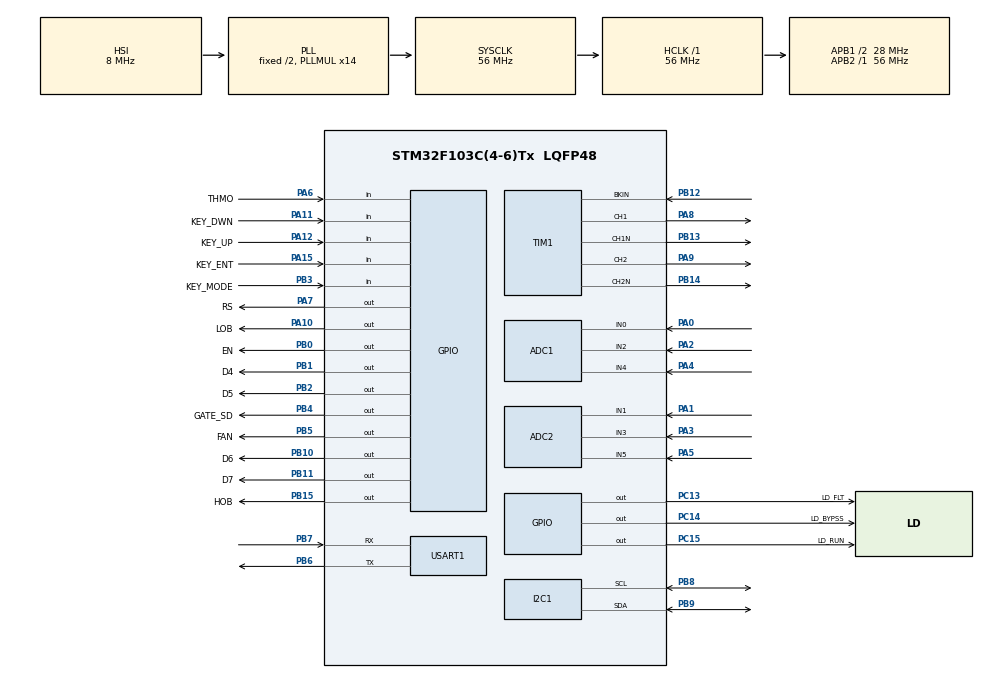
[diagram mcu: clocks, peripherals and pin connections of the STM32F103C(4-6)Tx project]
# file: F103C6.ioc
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ADC1.Channel-0\#ChannelRegularConversion=ADC_CHANNEL_0
ADC1.Channel-3\#ChannelRegularConversion=ADC_CHANNEL_2
ADC1.Channel-4\#ChannelRegularConversion=ADC_CHANNEL_4
ADC1.ContinuousConvMode=DISABLE
ADC1.ExternalTrigConv=ADC_EXTERNALTRIGCONV_T1_CC3
ADC1.Mode=ADC_DUALMODE_REGSIMULT
ADC1.NbrOfConversion=3
ADC1.NbrOfConversionFlag=1
ADC1.Rank-0\#ChannelRegularConversion=1
ADC1.Rank-3\#ChannelRegularConversion=2
ADC1.Rank-4\#ChannelRegularConversion=3
ADC1.SamplingTime-0\#ChannelRegularConversion=ADC_SAMPLETIME_7CYCLES_5
ADC1.SamplingTime-3\#ChannelRegularConversion=ADC_SAMPLETIME_7CYCLES_5
ADC1.SamplingTime-4\#ChannelRegularConversion=ADC_SAMPLETIME_7CYCLES_5
ADC1.master=1
ADC2.Channel-0\#ChannelRegularConversion=ADC_CHANNEL_1
ADC2.Channel-1\#ChannelRegularConversion=ADC_CHANNEL_3
ADC2.Channel-2\#ChannelRegularConversion=ADC_CHANNEL_5
ADC2.ContinuousConvMode=DISABLE
ADC2.Mode=ADC_DUALMODE_REGSIMULT
ADC2.NbrOfConversion=3
ADC2.NbrOfConversionFlag=1
ADC2.Rank-0\#ChannelRegularConversion=1
ADC2.Rank-1\#ChannelRegularConversion=2
ADC2.Rank-2\#ChannelRegularConversion=3
ADC2.SamplingTime-0\#ChannelRegularConversion=ADC_SAMPLETIME_7CYCLES_5
ADC2.SamplingTime-1\#ChannelRegularConversion=ADC_SAMPLETIME_7CYCLES_5
ADC2.SamplingTime-2\#ChannelRegularConversion=ADC_SAMPLETIME_7CYCLES_5
Dma.ADC1.0.Direction=DMA_PERIPH_TO_MEMORY
Dma.ADC1.0.Instance=DMA1_Channel1
Dma.ADC1.0.MemDataAlignment=DMA_MDATAALIGN_WORD
Dma.ADC1.0.MemInc=DMA_MINC_ENABLE
Dma.ADC1.0.Mode=DMA_CIRCULAR
Dma.ADC1.0.PeriphDataAlignment=DMA_PDATAALIGN_WORD
Dma.ADC1.0.PeriphInc=DMA_PINC_DISABLE
Dma.ADC1.0.Priority=DMA_PRIORITY_HIGH
Dma.Request0=ADC1
I2C1.I2C_Mode=I2C_Fast
Mcu.Family=STM32F1
Mcu.Name=STM32F103C(4-6)Tx
Mcu.Package=LQFP48
NVIC.DMA1_Channel1_IRQn=true\:0\:0\:false\:false\:true\:false\:true\:true
NVIC.PriorityGroup=NVIC_PRIORITYGROUP_4
NVIC.TIM1_UP_IRQn=true\:0\:0\:false\:false\:true\:true\:true\:true
NVIC.TIM2_IRQn=true\:0\:0\:false\:false\:true\:true\:true\:true
NVIC.USART1_IRQn=true\:0\:0\:false\:false\:true\:true\:true\:true
PA0-WKUP.Signal=ADCx_IN0
PA1.Signal=ADCx_IN1
PA10.GPIO_Label=LOB
PA10.Signal=GPIO_Output
PA11.GPIO_Label=KEY_DWN
PA11.GPIO_PuPd=GPIO_PULLUP
PA11.Signal=GPIO_Input
PA12.GPIO_Label=KEY_UP
PA12.GPIO_PuPd=GPIO_PULLUP
PA12.Signal=GPIO_Input
PA13.Mode=Serial_Wire
PA13.Signal=SYS_JTMS-SWDIO
PA14.Mode=Serial_Wire
PA14.Signal=SYS_JTCK-SWCLK
PA15.GPIO_Label=KEY_ENT
PA15.GPIO_PuPd=GPIO_PULLUP
PA15.Signal=GPIO_Input
PA2.Signal=ADCx_IN2
PA3.Signal=ADCx_IN3
PA4.Signal=ADCx_IN4
PA5.Signal=ADCx_IN5
PA6.GPIO_Label=THMO
PA6.Signal=GPIO_Input
PA7.GPIO_Label=RS
PA7.Signal=GPIO_Output
PA8.Signal=S_TIM1_CH1
PA9.Signal=S_TIM1_CH2
PB0.GPIO_Label=EN
PB0.Signal=GPIO_Output
PB1.GPIO_Label=D4
PB1.Signal=GPIO_Output
PB10.GPIO_Label=D6
PB10.Signal=GPIO_Output
PB11.GPIO_Label=D7
PB11.Signal=GPIO_Output
PB12.Mode=Activate-Break-Input
PB12.Signal=TIM1_BKIN
PB13.Mode=PWM Generation1 CH1 CH1N
PB13.Signal=TIM1_CH1N
PB14.Mode=PWM Generation2 CH2 CH2N
PB14.Signal=TIM1_CH2N
PB15.GPIO_Label=HOB
PB15.Signal=GPIO_Output
PB2.GPIO_Label=D5
PB2.Signal=GPIO_Output
PB3.GPIO_Label=KEY_MODE
PB3.GPIO_PuPd=GPIO_PULLUP
PB3.Signal=GPIO_Input
PB4.GPIO_Label=GATE_SD
PB4.Signal=GPIO_Output
PB5.GPIO_Label=FAN
PB5.Signal=GPIO_Output
PB6.Mode=Asynchronous
PB6.Signal=USART1_TX
PB7.Mode=Asynchronous
PB7.Signal=USART1_RX
PB8.Mode=I2C
PB8.Signal=I2C1_SCL
PB9.Mode=I2C
PB9.Signal=I2C1_SDA
PC13-TAMPER-RTC.GPIO_Label=LD_FLT
PC13-TAMPER-RTC.Signal=GPIO_Output
PC14-OSC32_IN.GPIO_Label=LD_BYPSS
PC14-OSC32_IN.Signal=GPIO_Output
PC15-OSC32_OUT.GPIO_Label=LD_RUN
PC15-OSC32_OUT.Signal=GPIO_Output
PD0-OSC_IN.Mode=HSE-External-Oscillator
PD0-OSC_IN.Signal=RCC_OSC_IN
PD1-OSC_OUT.Mode=HSE-External-Oscillator
PD1-OSC_OUT.Signal=RCC_OSC_OUT
ProjectManager.HeapSize=0x200
ProjectManager.StackSize=0x400
ProjectManager.TargetToolchain=STM32CubeIDE
RCC.ADCPresc=RCC_ADCPCLK2_DIV4
RCC.AHBFreq_Value=56000000
RCC.APB1CLKDivider=RCC_HCLK_DIV2
RCC.APB1Freq_Value=28000000
RCC.APB1TimFreq_Value=56000000
RCC.APB2Freq_Value=56000000
RCC.APB2TimFreq_Value=56000000
RCC.HCLKFreq_Value=56000000
RCC.PLLMUL=RCC_PLL_MUL14
RCC.SYSCLKFreq_VALUE=56000000
RCC.SYSCLKSource=RCC_SYSCLKSOURCE_PLLCLK
RCC.USBFreq_Value=56000000
SH.ADCx_IN0.0=ADC1_IN0,IN0
SH.ADCx_IN1.0=ADC2_IN1,IN1
SH.ADCx_IN2.0=ADC1_IN2,IN2
SH.ADCx_IN3.0=ADC2_IN3,IN3
SH.ADCx_IN4.0=ADC1_IN4,IN4
SH.ADCx_IN5.0=ADC2_IN5,IN5
SH.S_TIM1_CH1.0=TIM1_CH1,PWM Generation1 CH1 CH1N
SH.S_TIM1_CH2.0=TIM1_CH2,PWM Generation2 CH2 CH2N
TIM1.AutomaticOutput=TIM_AUTOMATICOUTPUT_ENABLE
TIM1.Channel-PWM\ Generation1\ CH1\ CH1N=TIM_CHANNEL_1
TIM1.Channel-PWM\ Generation2\ CH2\ CH2N=TIM_CHANNEL_2
TIM1.Channel-PWM\ Generation3\ No\ Output=TIM_CHANNEL_3
TIM1.ClockDivision=TIM_CLOCKDIVISION_DIV1
TIM1.CounterMode=TIM_COUNTERMODE_CENTERALIGNED1
TIM1.DeadTime=((DEAD_TIME_COUNTS)/2)
TIM1.OCMode_PWM-PWM\ Generation2\ CH2\ CH2N=TIM_OCMODE_PWM1
TIM1.OCMode_PWM-PWM\ Generation3\ No\ Output=TIM_OCMODE_PWM1
TIM1.Period=((PWM_PERIOD_CYCLES)/2)
TIM1.Prescaler=((TIM_CLOCK_DIVIDER) - 1)
TIM1.Pulse-PWM\ Generation3\ No\ Output=1
TIM1.RepetitionCounter=(REP_COUNTER)
TIM1.TIM_MasterOutputTrigger=TIM_TRGO_OC3REF
TIM1.TIM_MasterSlaveMode=TIM_MASTERSLAVEMODE_DISABLE
TIM2.Channel-PWM\ Generation1\ No\ Output=TIM_CHANNEL_1
TIM2.CounterMode=TIM_COUNTERMODE_UP
TIM2.Period=((PWM_PERIOD_CYCLES)*2)
TIM2.Prescaler=((TIM_CLOCK_DIVIDER) - 1)
USART1.VirtualMode=VM_ASYNC
VP_TIM1_VS_ClockSourceINT.Mode=Internal
VP_TIM1_VS_no_output3.Mode=PWM Generation3 No Output
VP_TIM2_VS_ClockSourceINT.Mode=Internal
VP_TIM2_VS_ClockSourceITR.Mode=TriggerSource_ITR0
VP_TIM2_VS_no_output1.Mode=PWM Generation1 No Output
board=custom

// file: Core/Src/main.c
/* USER CODE BEGIN Header */
/**
  ******************************************************************************
  * @file           : main.c
  * @brief          : Main program body
  ******************************************************************************
  * @attention
  *
  * Copyright (c) 2023 STMicroelectronics.
  * All rights reserved.
  *
  * This software is licensed under terms that can be found in the LICENSE file
  * in the root directory of this software component.
  * If no LICENSE file comes with this software, it is provided AS-IS.
  *
  ******************************************************************************
  */
/* USER CODE END Header */
#include "main.h"

/* USER CODE BEGIN Includes */
//#include "stdio.h"
#include "sinTable_16KHz.h"
#include "math.h"
#include "inverter.h"

#ifdef LCD
#include "lcd.h"
#endif

/* USER CODE END Includes */

/* USER CODE BEGIN PTD */
#define X_UART							0
#define X_EEPROM						0

/* USER CODE END PTD */

/* USER CODE BEGIN PD */

//================= EEPROM
#define EEPROM_ADDRESS              	((uint8_t)0xA0)
#define FAULT_BUFFER		         	((uint8_t)12)        	// 12 byte = 12 faults
#define EEPROM_DEFAULT_PARAMS      	((uint8_t)16)        	// 16 parameters to read/write

//================= UART
#define UART_TIMEOUT					((uint8_t)50)
//================= GPIO
//----------------- Output Active Low
//#define LD_FAULT_INACTIVE				HAL_GPIO_WritePin(LD_R_GPIO_Port, LD_R_Pin, GPIO_PIN_SET)
//#define LD_FAULT_ACTIVE				HAL_GPIO_WritePin(LD_R_GPIO_Port, LD_R_Pin, GPIO_PIN_RESET)
//#define LD_FAULT_TOGGLE				HAL_GPIO_TogglePin(LD_R_GPIO_Port, LD_R_Pin)
//
//#define LD_BYPSS_INACTIVE				HAL_GPIO_WritePin(LD_B_GPIO_Port, LD_B_Pin, GPIO_PIN_SET)
//#define LD_BYPSS_ACTIVE				HAL_GPIO_WritePin(LD_B_GPIO_Port, LD_B_Pin, GPIO_PIN_RESET)
//#define LD_BYPSS_TOGGLE				HAL_GPIO_TogglePin(LD_B_GPIO_Port, LD_B_Pin)
//
//#define LD_RUN_INACTIVE				HAL_GPIO_WritePin(LD_G_GPIO_Port, LD_G_Pin, GPIO_PIN_SET)
//#define LD_RUN_ACTIVE					HAL_GPIO_WritePin(LD_G_GPIO_Port, LD_G_Pin, GPIO_PIN_RESET)
//#define LD_RUN_TOGGLE					HAL_GPIO_TogglePin(LD_G_GPIO_Port, LD_G_Pin)

#define LD_FAULT_INACTIVE				GPIOC->BSRR = (uint32_t)GPIO_PIN_13;  			// SET
#define LD_FAULT_ACTIVE				GPIOC->BSRR = (uint32_t)GPIO_PIN_13 << 16u;  	// RESET
#define LD_FAULT_TOGGLE				HAL_GPIO_TogglePin(LD_R_GPIO_Port, LD_R_Pin)

#define LD_BYPSS_INACTIVE				GPIOC->BSRR = (uint32_t)GPIO_PIN_14;  			// SET
#define LD_BYPSS_ACTIVE				GPIOC->BSRR = (uint32_t)GPIO_PIN_14 << 16u;  	// RESET
#define LD_BYPSS_TOGGLE				HAL_GPIO_TogglePin(LD_B_GPIO_Port, LD_B_Pin)

#define LD_RUN_INACTIVE				GPIOC->BSRR = (uint32_t)GPIO_PIN_15;  			// SET
#define LD_RUN_ACTIVE					GPIOC->BSRR = (uint32_t)GPIO_PIN_15 << 16u;  	// RESET
#define LD_RUN_TOGGLE					HAL_GPIO_TogglePin(LD_G_GPIO_Port, LD_G_Pin)

//----------------- Output Active High
#define SLAVE_MOSFET_HIGH_INACTIVE	HAL_GPIO_WritePin(HOB_GPIO_Port, HOB_Pin, GPIO_PIN_RESET)
#define SLAVE_MOSFET_HIGH_ACTIVE		HAL_GPIO_WritePin(HOB_GPIO_Port, HOB_Pin, GPIO_PIN_SET)

#define SLAVE_MOSFET_LOW_INACTIVE		HAL_GPIO_WritePin(LOB_GPIO_Port, LOB_Pin, GPIO_PIN_RESET)
#define SLAVE_MOSFET_LOW_ACTIVE		HAL_GPIO_WritePin(LOB_GPIO_Port, LOB_Pin, GPIO_PIN_SET)

#define GATEDRIVE_INACTIVE			HAL_GPIO_WritePin(GATE_SD_GPIO_Port, GATE_SD_Pin, GPIO_PIN_RESET)
#define GATEDRIVE_ACTIVE				HAL_GPIO_WritePin(GATE_SD_GPIO_Port, GATE_SD_Pin, GPIO_PIN_SET)

#define FAN_INACTIVE					HAL_GPIO_WritePin(FAN_GPIO_Port, FAN_Pin, GPIO_PIN_RESET)
#define FAN_ACTIVE						HAL_GPIO_WritePin(FAN_GPIO_Port, FAN_Pin, GPIO_PIN_SET)

//#define RY_BYPASS_INACTIVE			HAL_GPIO_WritePin(BYPSS_GPIO_Port, BYPSS_Pin, GPIO_PIN_RESET)
//#define RY_BYPASS_ACTIVE				HAL_GPIO_WritePin(BYPSS_GPIO_Port, BYPSS_Pin, GPIO_PIN_SET)
//
//#define TESTPOINT_OFF					HAL_GPIO_WritePin(DBG_GPIO_Port, DBG_Pin, GPIO_PIN_RESET)
//#define TESTPOINT_ON					HAL_GPIO_WritePin(DBG_GPIO_Port, DBG_Pin, GPIO_PIN_SET)

//----------------- Digital Input
#define KEY_MODE						((uint8_t)0x01)		// 0000-0001
#define KEY_ENT						((uint8_t)0x02)   	// 0000-0010
#define KEY_UP	 						((uint8_t)0x04)		// 0000-0100
#define KEY_DWN						((uint8_t)0x08)		// 0000-1000

//=================
#define OFF								0
#define ON								1

#define RESET							0
#define SET								1

/* USER CODE END PD */

/* USER CODE BEGIN PM */

/* Private variables ---------------------------------------------------------*/

/* USER CODE END PM */

ADC_HandleTypeDef hadc1;
ADC_HandleTypeDef hadc2;
DMA_HandleTypeDef hdma_adc1;

I2C_HandleTypeDef hi2c1;

TIM_HandleTypeDef htim1;
TIM_HandleTypeDef htim2;

UART_HandleTypeDef huart1;

/* USER CODE BEGIN PV */
//================= Structure
SPWM_HandleTypeDef spwm;	// inverter.h
PI_HandleTypeDef pi_control;
DISPLAY_HandleTypedef txData;

keyStatus_HandleTypedef key;
keyCounter_HandleTypedef count;
keyFlag_HandleTypedef flag;

protectionCounter_HandleTypedef cnt;
protectionFlag_HandleTypedef flg;
temperature_HandleTypedef ntc;

Fault_HandleTypedef fltCnt;		// fault Count
flagFault_HandleTypedef fltFlg;	// fault Flag

#ifdef LCD

#endif
//------------------------------------------------------------------------

enum enum_boardState {
	boardState_InverterOFF 	 = 0,
	boardState_CheckDCBus 	 = 1,
	boardState_RLyConnect 	 = 2,
	boardState_InverterON	 = 3,
	boardState_TripCondition = 4
};

enum enum_boardState boardState = boardState_InverterOFF;

//------------------------------------------------------------------------
typedef enum{
	powerState_Off,
	powerState_On
}enum_powerState;

typedef enum{
	machineState_Error,
	machineState_StartUp,
	machineState_Operate
}enum_machineState;

typedef enum{
	invState_Off,
	invState_On
}enum_invState;

typedef enum{
	phaseState_Positive,
	phaseState_Negative
}enum_phaseState;

typedef enum{
	modeState_Normal,
	modeState_Bypass
}enum_modeState;

typedef enum{
	faultState_Clear,

	faultState_InputOverCurrent,
	faultState_InputUnderVoltage,
	faultState_InputOverVoltage,

	faultState_OutputOverVoltage,
	faultState_OutputOverCurrent,
	faultState_OutputOverPower,

	faultState_MosfetOverTemp,
	faultState_TransOverTemp

}enum_faultState;

typedef enum{
	displayState_OFF,
	displayState_ON
}enum_displayState;

typedef enum{
	indicatorState_Home,
	indicatorState_Error
}enum_indicatorState;

typedef enum{
	keyState_Home,
	keyState_Selection,
	keyState_Setting
}enum_keyState;

volatile enum_powerState		powerState		= powerState_Off;
volatile enum_machineState		machineState	= machineState_Error;
volatile enum_invState			invState		= invState_Off;
volatile enum_phaseState		phaseState		= phaseState_Positive;
volatile enum_modeState		modeState		= modeState_Normal;
volatile enum_faultState		faultState		= faultState_Clear;
volatile enum_displayState		displatState	= displayState_ON;
volatile enum_indicatorState	indicatorState	= indicatorState_Home;
volatile enum_keyState			keyState		= keyState_Home;
//================= PID Control

int dynamicRef;
//================= PWM, INVERTER
uint16_t sampling =0; 					// Count for sampling PWM value 0 - 180 Degree

uint32_t dutyCycle_temp =0;					// temporary duty cycle before fine adjust by voltage loop
uint32_t dutyCycle =0;						// duty cycle before fine adjust by voltage loop
uint32_t dutyCyclePrv =0;					// old cycle before fine adjust by voltage loop

uint16_t ccr3 = CAPTURE_POINT;				// ADCS capture position every sampling point
uint16_t ccr1 = DUTY1, ccr2 = DUTY2; 		// use demo mode for check hardware

uint8_t	 flag_zeroCross = RESET;
//================= ADCS
volatile uint8_t 	convCompleted = 0;    	// Complete Conversion flag
volatile uint32_t 	adcPair[3];
volatile uint32_t 	adcVal[3];
volatile uint16_t	adc1[3];
volatile uint16_t 	adc2[3];

volatile uint16_t adcOffset;
volatile uint16_t adcVRef;
volatile uint16_t invVinInst;
volatile uint16_t invIinInst;
volatile uint16_t invVoutInst;
volatile uint16_t invIoutInst;
volatile uint16_t invMosfetTemp;
volatile uint16_t invTransfTemp;

//================= PI Regulator
//static int32_t Kp;
//static int32_t Ki;
static int32_t Int_term;
static int32_t VoutDelta;

volatile uint32_t VoutT;
volatile uint16_t VoutRange;
volatile uint16_t CTMax, CTMin;

int32_t  PI(uint32_t setpoint, uint32_t feedback);					// AN4449

//================= EEPROM
uint8_t write_buffer_init[4] = {1, 2, 4, 9};
uint8_t write_buffer[4] = {20, 30, 59, 87};
uint8_t read_buffer[4];

uint8_t flag_Read 	= RESET;
uint8_t flag_Write 	= RESET;

//================= UART
uint8_t flag_tx 	= RESET;
uint8_t flag_rx 	= RESET;

uint8_t tx_buffer[8] = {0x01,0x02,0x04,0x08,0x80,0x40,0x20,0x10};
uint8_t rx_buffer[8];
uint8_t tx_echo[8];

uint8_t tx_text_buffer[15] = "STM32F103C6T6\n\r";

//================= GPIO
uint16_t cntTick;
uint8_t  prv_keyState;
uint8_t  indexMenu =0, indexValue =0;

//================= etc
uint16_t *p, *q, *r;
uint16_t buff_p = 123;
uint32_t xsetpoint = 2000, xfeedback =0;
int data1, data2;

uint32_t delayTime =0;
/* USER CODE END PV */

void SystemClock_Config(void);
static void MX_GPIO_Init(void);
static void MX_DMA_Init(void);
static void MX_ADC1_Init(void);
static void MX_TIM1_Init(void);
static void MX_ADC2_Init(void);
static void MX_I2C1_Init(void);
static void MX_USART1_UART_Init(void);
static void MX_TIM2_Init(void);
/* USER CODE BEGIN PFP */
//================= systems

void TIM1_ISR(void);					// 16 KHz	// Highest  Priority
void TIM2_ISR(void);					//  8 KHz	// High 	Priority
void faultCheck(void);
int16_t convertTemp(int16_t adcNTC);

void sysTick(void);             		//  1 KHz   // Low  Priority
	void powerConvertion(void);    	//
	void readGPIO(void);

//=================
	void InitParameters(void);			// Parameters
	void InitPeripheral(void);			// Initial GPIO
	void ClearParameters(void);		// Clear Parameters

static void Vout_Check(void);
static void Reset_PI(void);

//==== Need Highest Clock
void EEPromWrite(void);
void EEPromRead(void);
void UartTransmit(void);
void execDISP(void);

void delay_ms(uint32_t del);
void mainProgram(void);

/* USER CODE END PFP */

/* USER CODE BEGIN 0 */

#ifdef X_SWV

int _write(int file, char *ptr, int len)
{
	int i=0;
	for(i =0; i<len; i++)
		ITM_SendChar((*ptr++));
	return len;
}

#endif

void delay_ms(uint32_t del)
{
	delayTime = del;
	while(delayTime > 0);
}

/* USER CODE END 0 */

int main(void)
{

  /* MCU Configuration--------------------------------------------------------*/

  /* Reset of all peripherals, Initializes the Flash interface and the Systick. */
  HAL_Init();

  /* Configure the system clock */
  SystemClock_Config();

  /* Initialize all configured peripherals */
  MX_GPIO_Init();
  MX_DMA_Init();
  MX_ADC1_Init();
  MX_TIM1_Init();
  MX_ADC2_Init();
  MX_I2C1_Init();
  MX_USART1_UART_Init();
  MX_TIM2_Init();
  /* USER CODE BEGIN 2 */

  HAL_UART_Receive_IT(&huart1, tx_echo, 8);

  spwm.maxPeriod = PWM_PERIOD_MAX;
  spwm.minPeriod = PWM_PERIOD_MIN;
  spwm.currentDuty = 20;
  spwm.percentMod = 0;
  spwm.pwm_deadTime = 0;

  InitParameters();
  InitPeripheral();

  //HAL_TIM_Base_Start_IT(&htim3);
  HAL_TIM_Base_Start_IT(&htim2);				 // Slave of TIM1 General Task
  HAL_TIM_Base_Start_IT(&htim1);				 // Inverter Task

  HAL_TIM_PWM_Start(&htim2, TIM_CHANNEL_1);     // 32 KHz

  HAL_TIM_PWM_Start(&htim1, TIM_CHANNEL_1);     // PWM AH
  HAL_TIM_PWM_Start(&htim1, TIM_CHANNEL_2);     // PWM BH
  HAL_TIM_PWM_Start(&htim1, TIM_CHANNEL_3);	 // OCREF for Trigger ADC Conversion
  //HAL_TIM_PWM_Start(&htim1, TIM_CHANNEL_4);

  HAL_TIMEx_PWMN_Start(&htim1, TIM_CHANNEL_1);  // PWM AL
  HAL_TIMEx_PWMN_Start(&htim1, TIM_CHANNEL_2);  // PWM BL
  //HAL_TIMEx_PWMN_Start(&htim1, TIM_CHANNEL_3);

  HAL_ADC_Start(&hadc2);						 // start ADC2 (slave) first!
  HAL_ADCEx_MultiModeStart_DMA(&hadc1, (uint32_t*) adcPair, 3);

#ifdef LCD

  //LCD_PWRON();
  //delay_ms(100);
  LCD_INIT();
  LCD_CLEAR_DISPLAY();
  LCD_LOCATE(1, 1);
  //LCD_printstring(" STM32F103C6T6 \n");
  LCD_printstring(" STM32F103C6T6  ");
  LCD_LOCATE(2, 1);
  //LCD_printstring("pureSineInverter\n");
  LCD_printstring("pureSineInverter");
#ifdef USE_HAL_DELAY
	HAL_Delay(500);
#else
	delay_ms(500);
#endif

  LCD_DISP_OFF();
#ifdef USE_HAL_DELAY
	HAL_Delay(200);
#else
	delay_ms(200);
#endif
  LCD_DISP_ON();
  LCD_CLEAR_DISPLAY();

#endif

  /* USER CODE END 2 */

  /* Infinite loop */
  while (1)
  {

    /* USER CODE BEGIN 3 */
	  	 mainProgram();
  }
  /* USER CODE END 3 */
}

void SystemClock_Config(void)
{
  RCC_OscInitTypeDef RCC_OscInitStruct = {0};
  RCC_ClkInitTypeDef RCC_ClkInitStruct = {0};
  RCC_PeriphCLKInitTypeDef PeriphClkInit = {0};

  /** Initializes the RCC Oscillators according to the specified parameters
  * in the RCC_OscInitTypeDef structure.
  */
  RCC_OscInitStruct.OscillatorType = RCC_OSCILLATORTYPE_HSI;
  RCC_OscInitStruct.HSIState = RCC_HSI_ON;
  RCC_OscInitStruct.HSICalibrationValue = RCC_HSICALIBRATION_DEFAULT;
  RCC_OscInitStruct.PLL.PLLState = RCC_PLL_ON;
  RCC_OscInitStruct.PLL.PLLSource = RCC_PLLSOURCE_HSI_DIV2;
  RCC_OscInitStruct.PLL.PLLMUL = RCC_PLL_MUL14;
  if (HAL_RCC_OscConfig(&RCC_OscInitStruct) != HAL_OK)
  {
    Error_Handler();
  }

  /** Initializes the CPU, AHB and APB buses clocks
  */
  RCC_ClkInitStruct.ClockType = RCC_CLOCKTYPE_HCLK|RCC_CLOCKTYPE_SYSCLK
                              |RCC_CLOCKTYPE_PCLK1|RCC_CLOCKTYPE_PCLK2;
  RCC_ClkInitStruct.SYSCLKSource = RCC_SYSCLKSOURCE_PLLCLK;
  RCC_ClkInitStruct.AHBCLKDivider = RCC_SYSCLK_DIV1;
  RCC_ClkInitStruct.APB1CLKDivider = RCC_HCLK_DIV2;
  RCC_ClkInitStruct.APB2CLKDivider = RCC_HCLK_DIV1;

  if (HAL_RCC_ClockConfig(&RCC_ClkInitStruct, FLASH_LATENCY_2) != HAL_OK)
  {
    Error_Handler();
  }
  PeriphClkInit.PeriphClockSelection = RCC_PERIPHCLK_ADC;
  PeriphClkInit.AdcClockSelection = RCC_ADCPCLK2_DIV4;
  if (HAL_RCCEx_PeriphCLKConfig(&PeriphClkInit) != HAL_OK)
  {
    Error_Handler();
  }
}

static void MX_ADC1_Init(void)
{

  ADC_MultiModeTypeDef multimode = {0};
  ADC_ChannelConfTypeDef sConfig = {0};

  /** Common config
  */
  hadc1.Instance = ADC1;
  hadc1.Init.ScanConvMode = ADC_SCAN_ENABLE;
  hadc1.Init.ContinuousConvMode = DISABLE;
  hadc1.Init.DiscontinuousConvMode = DISABLE;
  hadc1.Init.ExternalTrigConv = ADC_EXTERNALTRIGCONV_T1_CC3;
  hadc1.Init.DataAlign = ADC_DATAALIGN_RIGHT;
  hadc1.Init.NbrOfConversion = 3;
  if (HAL_ADC_Init(&hadc1) != HAL_OK)
  {
    Error_Handler();
  }

  /** Configure the ADC multi-mode
  */
  multimode.Mode = ADC_DUALMODE_REGSIMULT;
  if (HAL_ADCEx_MultiModeConfigChannel(&hadc1, &multimode) != HAL_OK)
  {
    Error_Handler();
  }

  /** Configure Regular Channel
  */
  sConfig.Channel = ADC_CHANNEL_0;
  sConfig.Rank = ADC_REGULAR_RANK_1;
  sConfig.SamplingTime = ADC_SAMPLETIME_7CYCLES_5;
  if (HAL_ADC_ConfigChannel(&hadc1, &sConfig) != HAL_OK)
  {
    Error_Handler();
  }

  /** Configure Regular Channel
  */
  sConfig.Channel = ADC_CHANNEL_2;
  sConfig.Rank = ADC_REGULAR_RANK_2;
  if (HAL_ADC_ConfigChannel(&hadc1, &sConfig) != HAL_OK)
  {
    Error_Handler();
  }

  /** Configure Regular Channel
  */
  sConfig.Channel = ADC_CHANNEL_4;
  sConfig.Rank = ADC_REGULAR_RANK_3;
  if (HAL_ADC_ConfigChannel(&hadc1, &sConfig) != HAL_OK)
  {
    Error_Handler();
  }

}

static void MX_ADC2_Init(void)
{

  ADC_ChannelConfTypeDef sConfig = {0};

  /** Common config
  */
  hadc2.Instance = ADC2;
  hadc2.Init.ScanConvMode = ADC_SCAN_ENABLE;
  hadc2.Init.ContinuousConvMode = DISABLE;
  hadc2.Init.DiscontinuousConvMode = DISABLE;
  hadc2.Init.ExternalTrigConv = ADC_SOFTWARE_START;
  hadc2.Init.DataAlign = ADC_DATAALIGN_RIGHT;
  hadc2.Init.NbrOfConversion = 3;
  if (HAL_ADC_Init(&hadc2) != HAL_OK)
  {
    Error_Handler();
  }

  /** Configure Regular Channel
  */
  sConfig.Channel = ADC_CHANNEL_1;
  sConfig.Rank = ADC_REGULAR_RANK_1;
  sConfig.SamplingTime = ADC_SAMPLETIME_7CYCLES_5;
  if (HAL_ADC_ConfigChannel(&hadc2, &sConfig) != HAL_OK)
  {
    Error_Handler();
  }

  /** Configure Regular Channel
  */
  sConfig.Channel = ADC_CHANNEL_3;
  sConfig.Rank = ADC_REGULAR_RANK_2;
  if (HAL_ADC_ConfigChannel(&hadc2, &sConfig) != HAL_OK)
  {
    Error_Handler();
  }

  /** Configure Regular Channel
  */
  sConfig.Channel = ADC_CHANNEL_5;
  sConfig.Rank = ADC_REGULAR_RANK_3;
  if (HAL_ADC_ConfigChannel(&hadc2, &sConfig) != HAL_OK)
  {
    Error_Handler();
  }

}

static void MX_I2C1_Init(void)
{

  hi2c1.Instance = I2C1;
  hi2c1.Init.ClockSpeed = 400000;
  hi2c1.Init.DutyCycle = I2C_DUTYCYCLE_2;
  hi2c1.Init.OwnAddress1 = 0;
  hi2c1.Init.AddressingMode = I2C_ADDRESSINGMODE_7BIT;
  hi2c1.Init.DualAddressMode = I2C_DUALADDRESS_DISABLE;
  hi2c1.Init.OwnAddress2 = 0;
  hi2c1.Init.GeneralCallMode = I2C_GENERALCALL_DISABLE;
  hi2c1.Init.NoStretchMode = I2C_NOSTRETCH_DISABLE;
  if (HAL_I2C_Init(&hi2c1) != HAL_OK)
  {
    Error_Handler();
  }

}

static void MX_TIM1_Init(void)
{

  TIM_ClockConfigTypeDef sClockSourceConfig = {0};
  TIM_MasterConfigTypeDef sMasterConfig = {0};
  TIM_OC_InitTypeDef sConfigOC = {0};
  TIM_BreakDeadTimeConfigTypeDef sBreakDeadTimeConfig = {0};

  htim1.Instance = TIM1;
  htim1.Init.Prescaler = ((TIM_CLOCK_DIVIDER) - 1);
  htim1.Init.CounterMode = TIM_COUNTERMODE_CENTERALIGNED1;
  htim1.Init.Period = ((PWM_PERIOD_CYCLES)/2);
  htim1.Init.ClockDivision = TIM_CLOCKDIVISION_DIV1;
  htim1.Init.RepetitionCounter = (REP_COUNTER);
  htim1.Init.AutoReloadPreload = TIM_AUTORELOAD_PRELOAD_DISABLE;
  if (HAL_TIM_Base_Init(&htim1) != HAL_OK)
  {
    Error_Handler();
  }
  sClockSourceConfig.ClockSource = TIM_CLOCKSOURCE_INTERNAL;
  if (HAL_TIM_ConfigClockSource(&htim1, &sClockSourceConfig) != HAL_OK)
  {
    Error_Handler();
  }
  if (HAL_TIM_PWM_Init(&htim1) != HAL_OK)
  {
    Error_Handler();
  }
  sMasterConfig.MasterOutputTrigger = TIM_TRGO_OC3REF;
  sMasterConfig.MasterSlaveMode = TIM_MASTERSLAVEMODE_DISABLE;
  if (HAL_TIMEx_MasterConfigSynchronization(&htim1, &sMasterConfig) != HAL_OK)
  {
    Error_Handler();
  }
  sConfigOC.OCMode = TIM_OCMODE_PWM1;
  sConfigOC.Pulse = 0;
  sConfigOC.OCPolarity = TIM_OCPOLARITY_HIGH;
  sConfigOC.OCNPolarity = TIM_OCNPOLARITY_HIGH;
  sConfigOC.OCFastMode = TIM_OCFAST_DISABLE;
  sConfigOC.OCIdleState = TIM_OCIDLESTATE_RESET;
  sConfigOC.OCNIdleState = TIM_OCNIDLESTATE_RESET;
  if (HAL_TIM_PWM_ConfigChannel(&htim1, &sConfigOC, TIM_CHANNEL_1) != HAL_OK)
  {
    Error_Handler();
  }
  if (HAL_TIM_PWM_ConfigChannel(&htim1, &sConfigOC, TIM_CHANNEL_2) != HAL_OK)
  {
    Error_Handler();
  }
  sConfigOC.Pulse = 1;
  if (HAL_TIM_PWM_ConfigChannel(&htim1, &sConfigOC, TIM_CHANNEL_3) != HAL_OK)
  {
    Error_Handler();
  }
  sBreakDeadTimeConfig.OffStateRunMode = TIM_OSSR_DISABLE;
  sBreakDeadTimeConfig.OffStateIDLEMode = TIM_OSSI_DISABLE;
  sBreakDeadTimeConfig.LockLevel = TIM_LOCKLEVEL_OFF;
  sBreakDeadTimeConfig.DeadTime = ((DEAD_TIME_COUNTS)/2);
  sBreakDeadTimeConfig.BreakState = TIM_BREAK_ENABLE;
  sBreakDeadTimeConfig.BreakPolarity = TIM_BREAKPOLARITY_HIGH;
  sBreakDeadTimeConfig.AutomaticOutput = TIM_AUTOMATICOUTPUT_ENABLE;
  if (HAL_TIMEx_ConfigBreakDeadTime(&htim1, &sBreakDeadTimeConfig) != HAL_OK)
  {
    Error_Handler();
  }
  HAL_TIM_MspPostInit(&htim1);

}

static void MX_TIM2_Init(void)
{

  TIM_ClockConfigTypeDef sClockSourceConfig = {0};
  TIM_SlaveConfigTypeDef sSlaveConfig = {0};
  TIM_MasterConfigTypeDef sMasterConfig = {0};
  TIM_OC_InitTypeDef sConfigOC = {0};

  htim2.Instance = TIM2;
  htim2.Init.Prescaler = ((TIM_CLOCK_DIVIDER) - 1);
  htim2.Init.CounterMode = TIM_COUNTERMODE_UP;
  htim2.Init.Period = ((PWM_PERIOD_CYCLES)*2);
  htim2.Init.ClockDivision = TIM_CLOCKDIVISION_DIV1;
  htim2.Init.AutoReloadPreload = TIM_AUTORELOAD_PRELOAD_DISABLE;
  if (HAL_TIM_Base_Init(&htim2) != HAL_OK)
  {
    Error_Handler();
  }
  sClockSourceConfig.ClockSource = TIM_CLOCKSOURCE_INTERNAL;
  if (HAL_TIM_ConfigClockSource(&htim2, &sClockSourceConfig) != HAL_OK)
  {
    Error_Handler();
  }
  if (HAL_TIM_PWM_Init(&htim2) != HAL_OK)
  {
    Error_Handler();
  }
  sSlaveConfig.SlaveMode = TIM_SLAVEMODE_DISABLE;
  sSlaveConfig.InputTrigger = TIM_TS_ITR0;
  if (HAL_TIM_SlaveConfigSynchro(&htim2, &sSlaveConfig) != HAL_OK)
  {
    Error_Handler();
  }
  sMasterConfig.MasterOutputTrigger = TIM_TRGO_RESET;
  sMasterConfig.MasterSlaveMode = TIM_MASTERSLAVEMODE_DISABLE;
  if (HAL_TIMEx_MasterConfigSynchronization(&htim2, &sMasterConfig) != HAL_OK)
  {
    Error_Handler();
  }
  sConfigOC.OCMode = TIM_OCMODE_PWM1;
  sConfigOC.Pulse = 0;
  sConfigOC.OCPolarity = TIM_OCPOLARITY_HIGH;
  sConfigOC.OCFastMode = TIM_OCFAST_DISABLE;
  if (HAL_TIM_PWM_ConfigChannel(&htim2, &sConfigOC, TIM_CHANNEL_1) != HAL_OK)
  {
    Error_Handler();
  }

}

static void MX_USART1_UART_Init(void)
{

  huart1.Instance = USART1;
  huart1.Init.BaudRate = 115200;
  huart1.Init.WordLength = UART_WORDLENGTH_8B;
  huart1.Init.StopBits = UART_STOPBITS_1;
  huart1.Init.Parity = UART_PARITY_NONE;
  huart1.Init.Mode = UART_MODE_TX_RX;
  huart1.Init.HwFlowCtl = UART_HWCONTROL_NONE;
  huart1.Init.OverSampling = UART_OVERSAMPLING_16;
  if (HAL_UART_Init(&huart1) != HAL_OK)
  {
    Error_Handler();
  }

}

static void MX_DMA_Init(void)
{

  /* DMA controller clock enable */
  __HAL_RCC_DMA1_CLK_ENABLE();

  /* DMA interrupt init */
  /* DMA1_Channel1_IRQn interrupt configuration */
  HAL_NVIC_SetPriority(DMA1_Channel1_IRQn, 0, 0);
  HAL_NVIC_EnableIRQ(DMA1_Channel1_IRQn);

}

static void MX_GPIO_Init(void)
{
  GPIO_InitTypeDef GPIO_InitStruct = {0};

  /* GPIO Ports Clock Enable */
  __HAL_RCC_GPIOC_CLK_ENABLE();
  __HAL_RCC_GPIOD_CLK_ENABLE();
  __HAL_RCC_GPIOA_CLK_ENABLE();
  __HAL_RCC_GPIOB_CLK_ENABLE();

  /*Configure GPIO pin Output Level */
  HAL_GPIO_WritePin(GPIOC, LD_FLT_Pin|LD_BYPSS_Pin|LD_RUN_Pin, GPIO_PIN_RESET);

  /*Configure GPIO pin Output Level */
  HAL_GPIO_WritePin(GPIOA, RS_Pin|LOB_Pin, GPIO_PIN_RESET);

  /*Configure GPIO pin Output Level */
  HAL_GPIO_WritePin(GPIOB, EN_Pin|D4_Pin|D5_Pin|D6_Pin
                          |D7_Pin|HOB_Pin|GATE_SD_Pin|FAN_Pin, GPIO_PIN_RESET);

  /*Configure GPIO pins : LD_FLT_Pin LD_BYPSS_Pin LD_RUN_Pin */
  GPIO_InitStruct.Pin = LD_FLT_Pin|LD_BYPSS_Pin|LD_RUN_Pin;
  GPIO_InitStruct.Mode = GPIO_MODE_OUTPUT_PP;
  GPIO_InitStruct.Pull = GPIO_NOPULL;
  GPIO_InitStruct.Speed = GPIO_SPEED_FREQ_LOW;
  HAL_GPIO_Init(GPIOC, &GPIO_InitStruct);

  /*Configure GPIO pin : THMO_Pin */
  GPIO_InitStruct.Pin = THMO_Pin;
  GPIO_InitStruct.Mode = GPIO_MODE_INPUT;
  GPIO_InitStruct.Pull = GPIO_NOPULL;
  HAL_GPIO_Init(THMO_GPIO_Port, &GPIO_InitStruct);

  /*Configure GPIO pins : RS_Pin LOB_Pin */
  GPIO_InitStruct.Pin = RS_Pin|LOB_Pin;
  GPIO_InitStruct.Mode = GPIO_MODE_OUTPUT_PP;
  GPIO_InitStruct.Pull = GPIO_NOPULL;
  GPIO_InitStruct.Speed = GPIO_SPEED_FREQ_LOW;
  HAL_GPIO_Init(GPIOA, &GPIO_InitStruct);

  /*Configure GPIO pins : EN_Pin D4_Pin D5_Pin D6_Pin
                           D7_Pin HOB_Pin GATE_SD_Pin FAN_Pin */
  GPIO_InitStruct.Pin = EN_Pin|D4_Pin|D5_Pin|D6_Pin
                          |D7_Pin|HOB_Pin|GATE_SD_Pin|FAN_Pin;
  GPIO_InitStruct.Mode = GPIO_MODE_OUTPUT_PP;
  GPIO_InitStruct.Pull = GPIO_NOPULL;
  GPIO_InitStruct.Speed = GPIO_SPEED_FREQ_LOW;
  HAL_GPIO_Init(GPIOB, &GPIO_InitStruct);

  /*Configure GPIO pins : KEY_DWN_Pin KEY_UP_Pin KEY_ENT_Pin */
  GPIO_InitStruct.Pin = KEY_DWN_Pin|KEY_UP_Pin|KEY_ENT_Pin;
  GPIO_InitStruct.Mode = GPIO_MODE_INPUT;
  GPIO_InitStruct.Pull = GPIO_PULLUP;
  HAL_GPIO_Init(GPIOA, &GPIO_InitStruct);

  /*Configure GPIO pin : KEY_MODE_Pin */
  GPIO_InitStruct.Pin = KEY_MODE_Pin;
  GPIO_InitStruct.Mode = GPIO_MODE_INPUT;
  GPIO_InitStruct.Pull = GPIO_PULLUP;
  HAL_GPIO_Init(KEY_MODE_GPIO_Port, &GPIO_InitStruct);

}

/* USER CODE BEGIN 4 */

void TIM1_ISR(void) // 16 KHz
{
	GPIOC->BSRR = (uint32_t)GPIO_PIN_14;  // High
//-------------------------------------------------
//  readADC Values
	if(	convCompleted == 1)	 // End Of Conversion
	{
		convCompleted =0;
		readADCSignals(&adcOffset, &adcVRef, &invVinInst, &invIinInst, &invVoutInst, &invIoutInst);
	}
	GPIOC->BSRR = (uint32_t)GPIO_PIN_13 << 16u;  // RESET
//-------------------------------------------------
//  Generated samples
	sampling++;
	if(sampling > 160)
	{
		sampling =0;
		flag_zeroCross = SET;

		HAL_GPIO_TogglePin(LD_RUN_GPIO_Port, LD_RUN_Pin);		// 180 Degree

		//printf("ADC Value = %d\n", adc1[0]);
	}

//-------------------------------------------------
//  Feedback  PI Control

//  OPEN_LOOP
#if (CONTROLLEVEL == OPEN_LOOP)

	dutyCycle_temp = sinTable_160[sampling];
#endif

//  CLOSED_VOLTAGE
#if (CONTROLLEVEL == CLOSED_VOLTAGE)

#endif

//  CLOSED_CURRENT
#if (CONTROLLEVEL == CLOSED_CURRENT)

	dutyCycle_temp = sinTable_160[sampling];

	dynamicRef = PI(xsetpoint, xfeedback/*invVoutInst*/);   		// return new dutyCycle

#endif

//  CLOSED_VOLTAGE_CURRENT
#if (CONTROLLEVEL == CLOSED_VOLTAGE_CURRENT)

#endif

//-------------------------------------------------
//  PWM Driver for the inverter

//  dutyCyclePrv + ((int) plant)
    spwm.currentDuty = dutyCycle_temp;

//-------------------------------------------------
//	Data Stored
    dutyCyclePrv = dutyCycle;
//-------------------------------------------------
//	Update gui

		switch(phaseState)
		{
		case phaseState_Negative:

				TIM1->CCR1 = dutyCycle_temp;
				TIM1->CCR2 = 0;

				SLAVE_MOSFET_HIGH_INACTIVE;
				SLAVE_MOSFET_LOW_ACTIVE;

				if(flag_zeroCross == SET)
				{
					flag_zeroCross = RESET;
					phaseState = phaseState_Positive;
				}
			break;

		case phaseState_Positive:
				TIM1->CCR1 = 0;
				TIM1->CCR2 = dutyCycle_temp;

				SLAVE_MOSFET_HIGH_ACTIVE;
				SLAVE_MOSFET_LOW_INACTIVE;

				if(flag_zeroCross == SET)
				{
					flag_zeroCross = RESET;
					phaseState = phaseState_Negative;
				}
			break;
		}

		GPIOC->BSRR = (uint32_t)GPIO_PIN_14 << 16u;  // RESET

}

//==============================================================
/*
 *
 *
 *
 */
void TIM2_ISR(void)
{
	HAL_GPIO_TogglePin(FAN_GPIO_Port, FAN_Pin);

#ifdef DEVELOP_MODE
	faultState = faultState_Clear;
	powerState = powerState_On;
#else
	faultCheck();	// fault check

#endif

	if((faultState != faultState_Clear)||(powerState == powerState_Off)) 		// some fault is occur or power switch is off
	{
		machineState = machineState_Error;			// go to error state instantly
	}

	switch(machineState)
	{
		case machineState_Error :		// default
				invState = invState_Off;
				sampling = 0;

			break;

		case machineState_StartUp :		// soft-start
				invState = invState_On;

			break;

		case machineState_Operate :		// normal operation
				invState = invState_On;

			break;
	}

	//---- Gate Driver Control
	switch(invState)
	{
		case invState_Off :
				TIM1->CCR1	= 0;	// set dutyCycle = 0
				TIM1->CCR2  = 0;	// set dutyCycle = 0
				GATEDRIVE_INACTIVE;	// set High to GaveDrive Shutdown pin

			break;

		case invState_On :
				GATEDRIVE_ACTIVE;	// set Low to GaveDrive Shutdown pin
			break;
	}

}

//==============================================================
/*
 * input : analog input
 * return : fault status
 *
*/
void faultCheck(void)
{

	//----index 1 input OCP
	if((invIinInst > INPUT_OVER_CURRENT)&&(flg.InputOverCurrent == RESET))
	{
		cnt.InputOverCurrent++;
		if(cnt.InputOverCurrent > CNT_100MS)
		{
			if(faultState == faultState_Clear)
			{
				faultState = faultState_InputOverCurrent;
				flg.InputOverCurrent = SET;
			}
		}
	}
	else if((invIinInst < INPUT_STBY_CURRENT)&&(flg.InputOverCurrent == SET))
	{
		cnt.InputOverCurrent++;
		if(cnt.InputOverCurrent > CNT_1S)
		{
			flg.InputOverCurrent = RESET;
			if(faultState == faultState_InputOverCurrent)
			{
				faultState = faultState_Clear;
			}
		}
	}
	else
	{
		cnt.InputOverCurrent = 0;
	}

	//----index 2 index UVP
	if((invVinInst < INPUT_UNDER_VOLTAGE_CUTOUT)&&(flg.InputUnderVoltage == RESET))
	{
		cnt.InputUnderVoltage++;
		if(cnt.InputUnderVoltage > CNT_1S)
		{
			if(faultState == faultState_Clear)
			{
				faultState = faultState_InputUnderVoltage;
				flg.InputUnderVoltage = SET;
			}
		}
	}
	else if((invVinInst > INPUT_UNDER_VOLTAGE_CUTIN)&&(flg.InputUnderVoltage == SET))
	{
		cnt.InputUnderVoltage++;
		if(cnt.InputUnderVoltage > CNT_1S)
		{
			flg.InputUnderVoltage = RESET;
			if(faultState == faultState_InputUnderVoltage)
			{
				faultState = faultState_Clear;
			}
		}
	}
	else
	{
		cnt.InputUnderVoltage = 0;
	}

	//----index 3 input OVP
	if((invVinInst > INPUT_OVER_VOLTAGE_CUTOUT)&&(flg.InputOverVoltage == RESET))
	{
		cnt.InputOverVoltage++;
		if(cnt.InputOverVoltage > CNT_200MS)
		{
			if(faultState == faultState_Clear)
			{
				faultState = faultState_InputOverVoltage;
				flg.InputOverVoltage = SET;
			}

		}
	}
	else if((invVinInst < INPUT_OVER_VOLTAGE_CUTIN)&&(flg.InputOverVoltage == SET))
	{
		cnt.InputOverVoltage++;
		if(cnt.InputOverVoltage > CNT_500MS)
		{
			flg.InputOverVoltage = RESET;
			if(faultState == faultState_InputOverVoltage)
			{
				faultState = faultState_Clear;
			}
		}
	}
	else
	{
		cnt.InputOverVoltage = 0;
	}

	//----index 4 output OVP
	if((invVoutInst > OUTPUT_OVER_VOLTAGE)&&(flg.OutputOverVoltage == RESET))
	{
		cnt.OutputOverVoltage++;
		if(cnt.OutputOverVoltage > CNT_100MS)
		{
			if(faultState == faultState_Clear)
			{
				faultState = faultState_OutputOverVoltage;
				flg.OutputOverVoltage = SET;
			}
		}
	}
	else if((invVoutInst <= OUTPUT_VOLTAGE)&&(flg.OutputOverVoltage == SET))
	{
		cnt.OutputOverVoltage++;
		if(cnt.OutputOverVoltage > CNT_500MS)
		{
			flg.OutputOverVoltage = RESET;
			if(faultState == faultState_OutputOverVoltage)
			{
				faultState = faultState_Clear;
			}
		}
	}
	else
	{
		cnt.OutputOverVoltage = 0;
	}

	//----index 5 output OCP
	if((invIoutInst > OUTPUT_OVER_CURRENT)&&(flg.OutputOverCurrent == RESET))
	{
		cnt.OutputOverCurrent++;
		if(cnt.OutputOverCurrent > CNT_200MS)
		{
			if(faultState == faultState_Clear)
			{
				faultState = faultState_OutputOverCurrent;
				flg.OutputOverCurrent = SET;
			}
		}
	}
	else if((invIoutInst < OUTPUT_STBY_CURRENT)&&(flg.OutputOverCurrent == SET))
	{
		cnt.OutputOverCurrent++;
		if(cnt.OutputOverCurrent > CNT_1S)
		{
			flg.OutputOverCurrent = RESET;
			if(faultState == faultState_OutputOverCurrent)
			{
				faultState = faultState_Clear;
			}
		}
	}
	else
	{
		cnt.OutputOverCurrent = 0;
	}

	//----index 6 output OP

	//----index 7 mosfet OTP
	if((ntc.mosfet > TEMP_70C)&&(flg.MosfetOverTemp == RESET))
	{
		cnt.MosfetOverTemp++;
		if(cnt.MosfetOverTemp > CNT_3S)
		{
			if(faultState == faultState_Clear)
			{
				faultState = faultState_MosfetOverTemp;
				flg.MosfetOverTemp = SET;
			}
		}
	}
	else if((ntc.mosfet < TEMP_50C)&&(flg.MosfetOverTemp == SET))
	{
		cnt.MosfetOverTemp++;
		if(cnt.MosfetOverTemp > CNT_1S)
		{
			flg.MosfetOverTemp = RESET;
			if(faultState == faultState_MosfetOverTemp)
			{
				faultState = faultState_Clear;
			}
		}
	}
	else
	{
		cnt.MosfetOverTemp = 0;
	}

	//----index 8 trans  OTP
	if((ntc.transformer > TEMP_70C)&&(flg.TransOverTemp == RESET))
	{
		cnt.TransOverTemp++;
		if(cnt.TransOverTemp > CNT_2S)
		{
			if(faultState == faultState_Clear)
			{
				faultState = faultState_TransOverTemp;
				flg.TransOverTemp = SET;
			}
		}
	}
	else if((ntc.transformer < TEMP_50C)&&(flg.TransOverTemp == SET))
	{
		cnt.TransOverTemp++;
		if(cnt.TransOverTemp > CNT_500MS)
		{
			flg.TransOverTemp = RESET;
			if(faultState == faultState_TransOverTemp)
			{
				faultState = faultState_Clear;
			}
		}
	}
	else
	{
		cnt.TransOverTemp = 0;
	}
}

//==============================================================
/*
 * input : analog input
 * return : fault status
 *
*/
int16_t convertTemp(int16_t adcNTC)
{
	float fx, fy;
	float a2, a1, a0;
	int16_t shx;

	fx = adcNTC;
	fx = (fx/10);
	//------------------------
	//------------------------
	// :NTSA0154JZ007 (150K @ 25C)
	// R Pull-Up = 47K, Rs = 100
	// Min= (-20), Max= 120

	if(adcNTC >= 976)                    // (-20) to (-10)c
	{ a2= (-48.136); a1= (9005.8); a0= (-421443);
	}
	else if(adcNTC >= 943)               // (-10) to (0)c
	{ a2= (-16.833); a1= (2924.4); a0= (-126083);
	}
	//--------------------------------------------------------------
	else if(adcNTC >= 893)               // (0) to (10)c
	{ a2= (-6.9405); a1= (1076.5); a0= (-39788);
	}

	else if(adcNTC >= 822)               // (10) to (20)c
	{ a2= (-2.9832); a1= (370.43); a0= (-8293.3);
	}

	else if(adcNTC >= 731)               // (20) to (30)c
	{ a2= (-1.0587); a1= (54.887); a0= (4643.8);
	}

	else if(adcNTC >= 625)               // (30) to (40)c
	{ a2= (-0.2825); a1= (-55.922); a0= (8598.7);
	}

	else if(adcNTC >= 513)               // (40) to (50)c
	{ a2= (-0.0402); a1= (-85.068); a0= (9469.5);
	}

	else if(adcNTC >= 407)              // (50) to (60)c
	{ a2= (0.3495); a1= (-126.29); a0= (10559);
	}

	else if(adcNTC >= 314)             // (60) to (70)c
	{ a2= (1.0415); a1= (-182.59); a0= (11707);
	}

    else if(adcNTC >= 238)             // (70) to (80)c
	{ a2= (2.0916); a1= (-246.39); a0= (12676);
	}

    else if(adcNTC >= 178)             // (80) to (90)c
	{ a2= (3.8651); a1= (-327.64); a0= (13606);
	}

    else if(adcNTC >= 133)            // (90) to (100)c
	{ a2= (8.2796); a1= (-478.93); a0= (14905);
	}

	else if(adcNTC >= 99)            // (100) to (110)c
	{ a2= (13.425); a1= (-605.15); a0= (15674);
	}

	else //(adcNTC < 99)             // over (110)c
	{ a2= (36.593); a1= (-1047.3); a0= (17791);
	}

	//------------------------
	fy= (a2 * fx);
	fy= (fy + a1) * fx;
	fy= (fy + a0);
	//------------------------
	if(fy < (-12500)) fy= (-12500);
	if(fy > 12500) fy= 12500;
	//------------------------
	shx= fy;
	return(shx);
}

//==============================================================
/*
 * input : dutyCycle follow SineTable
 * return : dutyCycle for drive Full-Bridge Converter
 *
*/
int32_t PI(uint32_t setpoint, uint32_t feedback)  // setpoint = sinTable @ every time
{
	uint32_t buf_setpoint = setpoint;
	uint32_t buf_feedback = feedback;
	int32_t pi_out;
	//int32_t seterr,

	//int32_t error;

	//error = (int32_t)buf_feedback - (int32_t)buf_setpoint;
	//seterr = (-pi_control.kp * error) / 200;	// P term
	//Int_term = Int_term + ((-pi_control.ki * error) / 200); // I term

	pi_control.error = (int32_t)buf_feedback - (int32_t)buf_setpoint;
	pi_control.ProportionalTerm = (-pi_control.kp * pi_control.error) / 200;	// P term
	pi_control.xx = ((-pi_control.ki * pi_control.error) / 200);

	pi_control.IntegralTerm  = pi_control.IntegralTerm + pi_control.xx; //((-(pi_control.ki) * (pi_control.error)) / 200); // I term

	if(pi_control.IntegralTerm > SAT_LIMIT)
	{
		pi_control.IntegralTerm = SAT_LIMIT;
	}
	if(pi_control.IntegralTerm < -(SAT_LIMIT))
	{
		pi_control.IntegralTerm = -(SAT_LIMIT);
	}

	pi_out = pi_control.ProportionalTerm + pi_control.IntegralTerm;
	pi_out += setpoint;

	//----- error counter
	//***************************
	if(pi_out >= MAX_DUTY)		// out of control
	{
		pi_out = MAX_DUTY;
		CTMax++;
	}
	else
	{
		if(CTMax > 0) CTMax--;
	}
	//***************************
	if(pi_out <= MIN_DUTY)
	{
		pi_out = MIN_DUTY;
		CTMin++;
	}
	else
	{
		if(CTMin != 0) CTMin--;
	}

	return  pi_out;
}

//==============================================================
void sysTick(void)		// 1 mS
{
	//LD_BYPSS_TOGGLE;

	cntTick++;
	if(cntTick > 1000)
	{
		cntTick = 0;

		ccr1 += 50;
		if(ccr1 >= (PWM_PERIOD_CYCLES/2)) ccr1 = 0;

	}

	readGPIO();

	//---- FAN Control
	if((ntc.mosfet > TEMP_45C)&&(powerState = powerState_On))
	{
		ntc.cnt_mosfet++;
		if(ntc.cnt_mosfet > _1SEC)
		{	ntc.cnt_mosfet = 0;
			FAN_ACTIVE;
		}
	}
	else if((ntc.mosfet < TEMP_35C)&&(powerState = powerState_On))
	{
		ntc.cnt_mosfet++;
		if(ntc.cnt_mosfet > _1SEC)
		{	ntc.cnt_mosfet = 0;
			FAN_INACTIVE;
		}
	}
	else
	{
		ntc.cnt_mosfet = 0;
	}

	//---- FAN Control
	if((ntc.transformer > TEMP_60C)&&(powerState = powerState_On))
	{
		ntc.cnt_transformer++;
		if(ntc.cnt_transformer > _1SEC)
		{	ntc.cnt_transformer = 0;
			FAN_ACTIVE;
		}
	}
	else if((ntc.transformer < TEMP_50C)&&(powerState = powerState_On))
	{
		ntc.cnt_transformer++;
		if(ntc.cnt_transformer > _1SEC)
		{	ntc.cnt_transformer = 0;
			FAN_INACTIVE;
		}
	}
	else
	{
		ntc.cnt_transformer = 0;
	}

}

//==============================================================
void powerConvertion(void)  // Drive by TIM2 ISR
{

	p = &buff_p;
	q = &buff_p;

#if (CONV_MODE == HARDWARE_CHECK)

#endif

#if (CONV_MODE == PURESINE_INVTR)

#endif

}

//==============================================================
void readGPIO(void)	// read input switch, thermo_cutoff
{
	uint8_t	activeKey =0;

	key.Mode 	= HAL_GPIO_ReadPin(KEY_MODE_GPIO_Port, KEY_MODE_Pin);
	key.Enter 	= HAL_GPIO_ReadPin(KEY_ENT_GPIO_Port, KEY_ENT_Pin);
	key.Up		= HAL_GPIO_ReadPin(KEY_UP_GPIO_Port, KEY_UP_Pin);
	key.Down 	= HAL_GPIO_ReadPin(KEY_DWN_GPIO_Port, KEY_DWN_Pin);
	key.Power	= HAL_GPIO_ReadPin(THMO_GPIO_Port, THMO_Pin);

	//------------------- Check power Switch
	if(key.Power == LOW)
	{
		flag.key_Power = SET;
		powerState = powerState_On;
	}
	else
	{
		flag.key_Power = RESET;
		powerState = powerState_Off;
	}
	//----------------------------------------------------------------------

	if(key.Mode == LOW) 	activeKey |= KEY_MODE;		// 0x01
	if(key.Enter == LOW) 	activeKey |= KEY_ENT;		// 0x02
	if(key.Up == LOW)		activeKey |= KEY_UP;		// 0x04
	if(key.Down == LOW)		activeKey |= KEY_DWN;		// 0x08

	key.Value = activeKey;	// Max Value = 0x0F = 0b00001111

	if(key.Value == KEY_MODE) 	count.key_Mode++; else count.key_Mode =0;
	if(key.Value == KEY_ENT) 	count.key_Enter++; else count.key_Enter =0;
	if(key.Value == KEY_UP) 	count.key_Up++; else count.key_Up =0;
	if(key.Value == KEY_DWN) 	count.key_Dwn++; else count.key_Dwn =0;

	switch(keyState)
	{
		case keyState_Home :
			if(count.key_Mode == _2SEC)	keyState = keyState_Selection;	// Go to selection Page
			if(count.key_Up == _100MS) flag.key_Up = SET;				// Next parameter to show
			if(count.key_Dwn == _100MS) flag.key_Dwn = SET;			    // Prev parameter to show

			break;

		case keyState_Selection :
			if(key.Value > 0) count.exitMenu = _20SEC;
			count.exitMenu--;
			if(count.exitMenu == 0) keyState = keyState_Home;			// Automatic Back to Prev Page

			if(count.key_Up == _100MS)
				{
					flag.key_Up = SET;				// Next Menu
					indexMenu++;
					if(indexMenu > 8) indexMenu =0;
				}

			if(count.key_Dwn == _100MS)
				{
					flag.key_Dwn = SET;				// Prev Menu

					if(indexMenu > 0) indexMenu--;

				}

			if(count.key_Enter == _200MS) keyState = keyState_Setting;   // Go to Setting Page
			if(count.key_Mode == _100MS) keyState = keyState_Home;		// Back to Prev Page

			break;

		case keyState_Setting :
			if(key.Value > 0) count.exitMenu = _20SEC;
			count.exitMenu--;
			if(count.exitMenu == 0) keyState = keyState_Home;			// Automatic Back to Prev Page

			if(count.key_Up == _100MS)
				{
					flag.key_Up = SET;				// Increase Value
					indexValue++;
					if(indexValue > 8) indexValue =0;
				}

			if(count.key_Dwn == _100MS)
				{
					flag.key_Dwn = SET;				// Decrease Value
					if(indexValue > 0) indexValue--;

				}

			if(count.key_Enter == _100MS) keyState = keyState_Setting;   // Save Setting Value
			if(count.key_Mode == _100MS) keyState = keyState_Selection;	// Back to Prev Page

			break;
	}

}

//==============================================================
void execDISP(void)
{

#ifdef LCD

	if(keyState != keyState)
	{
		LCD_CLEAR_DISPLAY();
	}

	switch(keyState)
	{
		case keyState_Home :
			LCD_LOCATE(1, 1);
			LCD_printf("Curr = %4d A", invIinInst);
			LCD_LOCATE(2, 1);
			LCD_printf("Volt = %4d V", invVinInst);
			break;

		case keyState_Selection :
			LCD_LOCATE(1, 1);
			LCD_printf("Menu : %2d = %2d", indexMenu, indexValue);
			LCD_LOCATE(2, 1);
			LCD_printstring("Select >> Enter \n");
			break;

		case keyState_Setting :
			LCD_LOCATE(1, 1);
			LCD_printf("Value : %2d ", indexValue);
			LCD_LOCATE(2, 1);
			LCD_printstring("Adjust >> Save \n");
			break;
	}

	prv_keyState = keyState;

#endif

}

//==============================================================
void InitParameters(void)
{
	TIM1->CCR3 = ccr3; 	// Set ADCs Trigger point

	Reset_PI();
	Vout_Check();		// define analog value

}

//==============================================================
void InitPeripheral(void)
{

//	LD_FAULT_ACTIVE;
//	LD_BYPSS_ACTIVE;
//	LD_RUN_ACTIVE;
//	HAL_Delay(500);
//	LD_FAULT_INACTIVE;
//	LD_BYPSS_INACTIVE;
//	LD_RUN_INACTIVE;

	GPIOC->BSRR = (uint32_t)GPIO_PIN_13 << 16u;  // RESET
	GPIOC->BSRR = (uint32_t)GPIO_PIN_14 << 16u;  // RESET
	GPIOC->BSRR = (uint32_t)GPIO_PIN_15 << 16u;  // RESET
	HAL_Delay(1000);
	GPIOC->BSRR = GPIO_PIN_13;  // SET
	GPIOC->BSRR = GPIO_PIN_14;  // SET
	GPIOC->BSRR = GPIO_PIN_15;  // SET
	HAL_Delay(1000);
}

//==============================================================
void ClearParameters(void)
{

}

//==============================================================
static void Vout_Check(void)
{
	VoutT = (VOUT_TARGET * VOUT_RESISTOR_RATIO) / 10000;
	VoutT = (VoutT * 4096) / REAL_3V3;
	VoutRange = VOUT_TARGET / 1000;
	VoutDelta = VOUT_TARGET - (VoutRange * 1000);
}

//==============================================================
static void Reset_PI(void)
{
	/* Reset Integral term for PI */
	Int_term = 0;
	/* Reset Count Min and Max */
	CTMax = 0;
	CTMin = 0;
	/* Set Proportional and Integral constant terms */
	pi_control.ki = 0;  // 50/200 = 25% = 0.25
	pi_control.kp = 0;  // 50/200 = 25% = 0.25
	pi_control.ProportionalTerm =0;
}

//==============================================================
void EEPromWrite(void)
{
	if(flag_Write == SET)
	{
		flag_Write = RESET;
		HAL_I2C_Mem_Write(&hi2c1, EEPROM_ADDRESS, 0, 2, write_buffer, sizeof(write_buffer), 50);

	}
}

//==============================================================
void EEPromRead(void)
{
	if(flag_Read == SET)
	{
		flag_Read = RESET;
		HAL_I2C_Mem_Read(&hi2c1, EEPROM_ADDRESS, 0, 2, read_buffer, sizeof(read_buffer), 50);

	}
}

//==============================================================
void UartTransmit(void)
{
	if(flag_tx == SET)
	{
		flag_tx = RESET;
		HAL_UART_Transmit(&huart1, tx_text_buffer, sizeof(tx_text_buffer), 10);
	}
}

//==============================================================
//====================== Callback function
void HAL_ADC_ConvCpltCallback(ADC_HandleTypeDef* hadc)
{
	/*
	 * 	Tconv = Sampling time + 12.5 cycles
	 * 	With an ADCCLK = 14 MHz and a sampling time of 1.5 cycles:
	 * 	Tconv = 1.5 + 12.5 = 14 cycles = 1 µs
	 * 	ADC Clock = 14 MHz
	 * 	Sample 7.5 Clock + Conversion 12.5 = 20 Clock = 1.43 uS/ Pair
	 *	Aprox = 4.28 uS
	 *
	 * 			  | Pair1 | Pair2 | Pair3 |
	 * 			  |   AN0 |   AN2 |   AN4 |
	 * 			  |   AN1 |   AN3 |   AN5 |
	 * 	_TIM1 TRIG|_______________________|EOC|___
	 */

	//HAL_GPIO_TogglePin(LD_FLT_GPIO_Port, LD_FLT_Pin);
	GPIOC->BSRR = GPIO_PIN_13;  // SET  // LED FLT

	adc1[0] = (adcPair[0] & 0xFFFF);
	adc2[0] = ((adcPair[0] >> 16) & 0xFFFF);

	adc1[1] = (adcPair[1] & 0xFFFF);
	adc2[1] = ((adcPair[1] >> 16) & 0xFFFF);

	adc1[2] = (adcPair[2] & 0xFFFF);
	adc2[2] = ((adcPair[2] >> 16) & 0xFFFF);

	convCompleted = 1;

}

void HAL_UART_RxCpltCallback(UART_HandleTypeDef *huart)
{
  /* Prevent unused argument(s) compilation warning */
  UNUSED(huart);
  /* NOTE: This function should not be modified, when the callback is needed,
           the HAL_UART_RxCpltCallback could be implemented in the user file
  */
  HAL_UART_Receive_IT(&huart1, tx_echo, sizeof(tx_echo));
  //HAL_UART_Transmit(&huart1, tx_echo , sizeof(tx_echo), 10);

}

void mainProgram(void)
{
	ntc.mosfet 		= convertTemp(adc1[2]);
	ntc.transformer = convertTemp(adc2[2]);

	EEPromWrite();
	EEPromRead();
	UartTransmit();
	execDISP();   // LCD

}

/* USER CODE END 4 */

void Error_Handler(void)
{
  __disable_irq();
  while (1)
  {
  }
}
